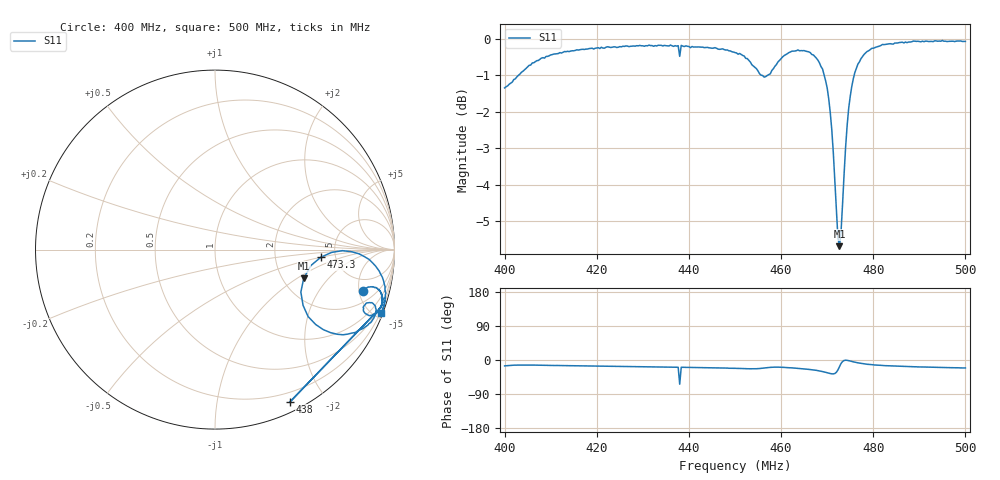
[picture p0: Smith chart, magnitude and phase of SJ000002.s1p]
!File created by NanoVNA-F V2
# Hz S RI R 50
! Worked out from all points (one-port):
!   301 points, 400 MHz to 500 MHz, reference 50 ohm
!   lowest |S11| = -5.7 dB at 472.7 MHz (marker M1), VSWR 3.16, Z = 130 - j56.8 ohm
!   |S11| at or under -10 dB: nowhere
!   S11 on the Smith chart (normalised r, x): 400 MHz: 3.21, -5.52; 438 MHz: 0.10, -1.60; 473.3 MHz: 3.83, -0.49; 500 MHz: 0.12, -5.39
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4e8  0.8251 -0.2291
4.02e8  0.8544 -0.2079
4.06e8  0.9016 -0.2133
4.126667e8  0.9262 -0.2458
4.25e8  0.9337 -0.2834
4.376666e8  0.9241 -0.3216
4.38e8  0.4169 -0.8492
4.383333e8  0.9249 -0.3219
4.5e8  0.8881 -0.3577
4.529999e8  0.859 -0.3679
4.563333e8  0.8253 -0.3221
4.589999e8  0.8735 -0.2954
4.626666e8  0.8963 -0.3485
4.676666e8  0.8358 -0.4313
4.689999e8  0.7831 -0.4613
4.703333e8  0.6804 -0.4716
4.709999e8  0.6037 -0.4462
4.716666e8  0.5186 -0.3729
4.723333e8  0.4784 -0.2368
4.726666e8  0.4943 -0.1598
4.733333e8  0.5903 -0.042
4.739999e8  0.7093 -0.00598
4.749999e8  0.8323 -0.0392
4.759999e8  0.8939 -0.0908
4.783333e8  0.9399 -0.1769
4.823333e8  0.9492 -0.2507
4.876666e8  0.9444 -0.2964
4.999999e8  0.9259 -0.3556
